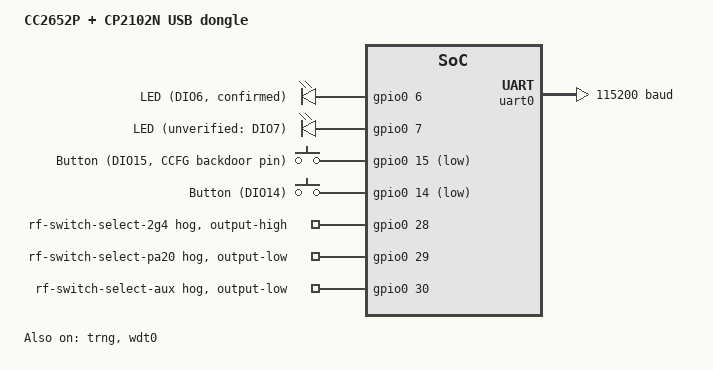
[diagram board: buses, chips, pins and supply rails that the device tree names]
/*
 * SPDX-License-Identifier: Apache-2.0
 *
 * CC2652P + CP2102N USB dongle - an unbranded E72-2G4M20S1E-class stick
 * (AliExpress 3256805969376407), which is the deployment target
 * apps/dongle_ti was written for all along. See that application's README and
 * boards/cc2652p_dongle.conf.
 *
 * ── WHAT IS MEASURED AND WHAT IS NOT ───────────────────────────────────────
 *
 * There is no schematic for this module. Everything below is either read out
 * of the silicon or read out of the factory firmware's own pin configuration
 * (scripts/ti/dss_identify.js and scripts/ti/dss_pinmap.js, 2026-08-19), and
 * anything that is neither is ABSENT from this file rather than guessed:
 *
 *   MEASURED, trust it:
 *     CC2652P1F die. FLASH.FCFG_B0_SSIZE0 = 0x002C0008 -> 44 sectors x 8 KB
 *     = 352 KB, which is the P1F/R1F die and NOT the CC2652P7's 704 KB. That
 *     is why this includes ti/cc2652r.dtsi (352 KB flash, 80 KB SRAM, soc
 *     series cc13x2_cc26x2) and selects SOC_CC2652P in Kconfig - exactly the
 *     split upstream's cc1352p1_launchxl uses, which includes ti/cc1352r.dtsi
 *     and selects SOC_CC1352P. There is no cc2652p.dtsi in Zephyr and there
 *     does not need to be.
 *
 *     UART0 on DIO12/DIO13, the CP2102N bridge. See the pinctrl file.
 *
 *     DIO14 and DIO15 configured as pulled inputs by the factory image, which
 *     is what the two non-reset buttons look like, and DIO15 is independently
 *     corroborated: the factory CCFG's BL_CONFIG = 0xC5FE0FC5 names DIO15 as
 *     the ROM bootloader backdoor pin, active low. A CCFG field and an IOCFG
 *     register agreeing is as close to a schematic as this board gets.
 *
 *   INFERRED, and flagged as such at the node - see the leds block.
 *
 *     THE RF ANTENNA SWITCH, settled on air on 2026-08-20 and no longer a
 *     hypothesis: DIO28 selects the 2.4 GHz path and is worth 8 dB of receive
 *     sensitivity. DIO29 and DIO30 do not select it - DIO29 high is actively
 *     harmful. See the hog nodes under &gpio0 for the measurement.
 *
 *     THE ANSWER CAME FROM THE AIR, NOT FROM THE DATASHEET, and it had to.
 *     DIO28/29/30 are driven outputs in the factory image, which is the
 *     CC1352P LaunchPad's SKY13317 arrangement (boards/ti/common/
 *     launchxl_sky13317.dtsi); DIO6/DIO7/DIO9/DIO10 are ALSO driven outputs,
 *     and DIO6/DIO7 is closer to the E72's documented P06/P05. Reading either
 *     document would have produced a confident wrong answer.
 *
 *     AND THE FAILURE IT CAUSED WAS NOT SILENCE, which is why this was worth
 *     chasing rather than leaving. With the switch floating the board still
 *     enumerated, still opened channels, still heard the nearest sensor and
 *     still decoded it correctly - it was merely 8 dB deaf, which presents as
 *     a sensor being out of range, or a flaky strap, or a noisy room. The
 *     first scan on this hardware heard a trainer two metres away at -85 dBm
 *     and missed a heart rate strap entirely, and every one of those readings
 *     looked like an ordinary bad bench rather than a board defect.
 *
 * ── NO MCUBOOT PARTITION LAYOUT ────────────────────────────────────────────
 *
 * boards/ti/common/launchxl-flash.dtsi is deliberately NOT included. It puts
 * slot0 at 0xa000 and makes it zephyr,code-partition, which is right for a
 * board that boots MCUboot and wrong here: this dongle has no bootloader and
 * no way to load one over USB (see the pinctrl file's note on DIO2/DIO3), so
 * an image linked at 0xa000 with nothing at 0x0 is a brick that needs the JTAG
 * rig to undo. The application links at 0. The CCFG partition it does need is
 * already declared by ti/cc1352r.dtsi.
 */

/dts-v1/;

#include <ti/cc2652r.dtsi>
#include <zephyr/dt-bindings/gpio/gpio.h>
#include <zephyr/dt-bindings/input/input-event-codes.h>
#include "cc2652p_dongle-pinctrl.dtsi"

/ {
	model = "CC2652P + CP2102N USB dongle";
	compatible = "radiant,cc2652p-dongle";

	aliases {
		led0 = &led0;
		sw0 = &btn_bsl;
		sw1 = &btn_user;
		watchdog0 = &wdt0;
	};

	chosen {
		zephyr,sram = &sram0;
		zephyr,flash = &flash0;
		zephyr,console = &uart0;
		zephyr,shell-uart = &uart0;
		/*
		 * NO zephyr,code-partition - see the header. And no
		 * zephyr,ieee802154: the RF core is driven by radiant's own
		 * backend through TI's RF driver, not by Zephyr's 802.15.4
		 * driver, and leaving that chosen in place makes the net stack
		 * claim the radio out from under it.
		 */
	};

	/*
	 * DIO6 IS CONFIRMED, by eye, 2026-08-20: apps/dongle_ti blinks led0 at
	 * 1 Hz and the stick blinks. It was an inference before that - the
	 * factory image leaves DIO6 and DIO7 as driven outputs at logic low,
	 * which is what an active-high LED that is currently off looks like,
	 * and DIO6/DIO7 are the red and green LEDs on every LaunchPad in this
	 * family (boards/ti/common/launchxl.dtsi), a reference design this
	 * module is visibly derived from.
	 *
	 * DIO7 IS STILL AN INFERENCE - it has never been lit, only reasoned
	 * about from the same evidence. Nothing in this repository uses led1.
	 *
	 * DIO20 is ALSO a driven output, at logic HIGH, and the stick has an
	 * LED lit whenever it is powered; that is most likely a power
	 * indicator and it is deliberately NOT given an alias, because an
	 * alias for a light that cannot be turned off is a trap.
	 *
	 * If led1 turns out to be wrong, DELETE the node - do not leave a
	 * plausible-looking LED alias that silently drives nothing, because
	 * every future bring-up on this board will reach for blinky first.
	 */
	leds {
		compatible = "gpio-leds";

		led0: led_0 {
			gpios = <&gpio0 6 GPIO_ACTIVE_HIGH>;
			label = "LED (DIO6, confirmed)";
		};

		led1: led_1 {
			gpios = <&gpio0 7 GPIO_ACTIVE_HIGH>;
			label = "LED (unverified: DIO7)";
		};
	};

	keys {
		compatible = "gpio-keys";

		/*
		 * DIO15 is the ROM bootloader backdoor pin per the factory
		 * CCFG, so it is the button a user would hold at reset. It is
		 * kept as the backdoor pin in the defconfig for the same
		 * reason.
		 */
		btn_bsl: btn_bsl {
			gpios = <&gpio0 15 (GPIO_ACTIVE_LOW | GPIO_PULL_UP)>;
			label = "Button (DIO15, CCFG backdoor pin)";
			zephyr,code = <INPUT_KEY_0>;
		};

		btn_user: btn_user {
			gpios = <&gpio0 14 (GPIO_ACTIVE_LOW | GPIO_PULL_UP)>;
			label = "Button (DIO14)";
			zephyr,code = <INPUT_KEY_1>;
		};
	};
};

&cpu0 {
	clock-frequency = <48000000>;
};

&gpio0 {
	status = "okay";

	/*
	 * ── THE RF ANTENNA SWITCH, MEASURED ON AIR 2026-08-20 ──────────────
	 *
	 * These three pins were an open question in this file's header until
	 * they were swept against a real ANT+ sensor. They are hogs rather
	 * than driver-managed pins because the selection here is STATIC: this
	 * board only ever uses the CC2652P's default RF port (every entry in
	 * radiant_cc26xx_txp is RF_TxPowerTable_DEFAULT_PA_ENTRY and .txPower
	 * is never RF_TX20_ENABLED), so the switch is set once at boot and
	 * never changes. A board that engaged the 20 dBm PA would need the
	 * switch driven per-transmission from an RF driver callback instead,
	 * and these hogs would then be wrong rather than merely unnecessary.
	 *
	 * HOW THE LEVELS WERE ESTABLISHED. scripts/ti/dss_setpins.js drives
	 * chosen DIOs on the running image without a rebuild - radiant never
	 * touches these pins, so a debugger-written level persists - and each
	 * combination was measured against a STATIONARY trainer on a channel
	 * bound to its device number, alternating arms so a drift in the room
	 * could not be read as the effect. Median RSSI over 30 s windows:
	 *
	 *     DIO28/29/30 floating   -80, -80, -80 dBm
	 *     DIO28 high             -72, -72      dBm
	 *
	 * Eight dB, with no overlap between the arms. DIO29 high is actively
	 * harmful (one combination with it set heard NOTHING in 40 s), and
	 * DIO30 was measured separately and does nothing: 28-only gave -72,
	 * -72, -73 against 28-and-30's -73, -73.
	 *
	 * A packet COUNT will not show any of this and was misleading
	 * throughout - the link is well above threshold either way, so loss
	 * barely moves while RSSI moves 8 dB. Worse, a wildcard scan locks
	 * onto whichever sensor it acquires first, so its counts measure
	 * acquisition order. Measure RSSI on a bound channel.
	 *
	 * 29 and 30 are driven LOW rather than left floating even though low
	 * is their measured-neutral state: an undriven switch control input
	 * is undefined, and "it worked when we left it floating" is not a
	 * property that survives a different unit or a colder room.
	 */
	rf_sw_2g4: rf-switch-2g4 {
		gpio-hog;
		gpios = <28 GPIO_ACTIVE_HIGH>;
		output-high;
		line-name = "rf-switch-select-2g4";
	};

	rf_sw_pa20: rf-switch-pa20 {
		gpio-hog;
		gpios = <29 GPIO_ACTIVE_HIGH>;
		output-low;
		line-name = "rf-switch-select-pa20";
	};

	rf_sw_aux: rf-switch-aux {
		gpio-hog;
		gpios = <30 GPIO_ACTIVE_HIGH>;
		output-low;
		line-name = "rf-switch-select-aux";
	};
};

&trng {
	status = "okay";
};

&wdt0 {
	status = "okay";
};

&uart0 {
	status = "okay";
	current-speed = <115200>;
	pinctrl-0 = <&uart0_rx_default &uart0_tx_default>;
	pinctrl-names = "default";
};

/*
 * uart1's pins (DIO22/DIO24 on a LaunchPad) go nowhere on a sealed USB stick,
 * so it is left disabled and given no pinctrl at all. An application that
 * wants a second port has to say which pads it found first.
 */
&uart1 {
	status = "disabled";
};

/*
 * The RF core is opened by radiant/src/radiant_radio_cc26xx.c through TI's own
 * RF driver. Zephyr's radio/802.15.4 nodes describe a DIFFERENT driver for the
 * same hardware, and enabling them means two drivers owning one RF core. This
 * mirrors what boards/ti/cc26x2r1_launchxl/cc26x2r1_launchxl.dts does, for the
 * same reason.
 */
&radio {
	status = "disabled";
};

&ieee802154 {
	status = "disabled";
};

&ieee802154g {
	status = "disabled";
};
